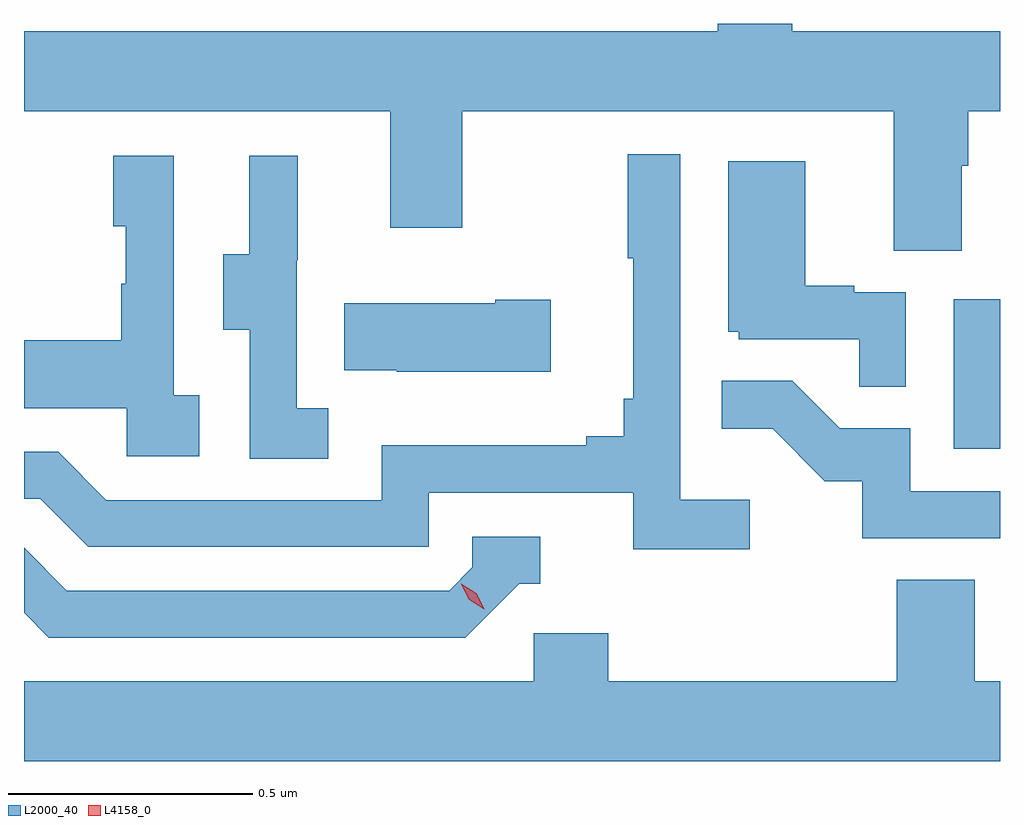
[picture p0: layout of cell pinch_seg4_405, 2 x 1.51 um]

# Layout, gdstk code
import gdstk
lib = gdstk.Library(unit=1e-6, precision=1e-09)
def R(c, l, rs):  # rectangles x0, y0, x1, y1
    for r in rs: c.add(gdstk.rectangle(r[:2], r[2:], *l))
def P(c, l, *ps):  # polygons
    for p in ps: c.add(gdstk.Polygon(p, *l))
L2000_40 = (2000, 40)
L4158_0 = (4158, 0)

pinch_seg4_405 = lib.new_cell('pinch_seg4_405')
R(pinch_seg4_405, L2000_40, [(979.658,784.14,979.753,784.447)])
P(pinch_seg4_405, L2000_40, [(979.675,784.72),(979.688,784.72),(979.688,784.832),(979.753,784.832),(979.753,784.996),(979.327,784.996),(979.327,785.011),(979.175,785.011),(979.175,784.996),(977.753,784.996),(977.753,784.832),(978.503,784.832),(978.503,784.593),(978.651,784.593),(978.651,784.832),(979.535,784.832),(979.535,784.546),(979.675,784.546)],
  [(979.24,784.036),(979.098,784.036),(979.098,784.744),(978.99,784.744),(978.99,784.531),(979.001,784.531),(979.001,784.243),(978.982,784.243),(978.982,784.166),(978.905,784.166),(978.905,784.147),(978.486,784.147),(978.486,784.035),(977.922,784.035),(977.823,784.134),(977.753,784.134),(977.753,784.038),(977.786,784.038),(977.885,783.939),(978.582,783.939),(978.582,784.05),(979.001,784.05),(979.001,783.934),(979.24,783.934)],
  [(978.112,784.25),(978.06,784.25),(978.06,784.741),(977.936,784.741),(977.936,784.596),(977.962,784.596),(977.962,784.478),(977.952,784.478),(977.952,784.363),(977.753,784.363),(977.753,784.223),(977.964,784.223),(977.964,784.125),(978.112,784.125)],
  [(978.376,784.223),(978.312,784.223),(978.312,784.527),(978.314,784.527),(978.314,784.741),(978.215,784.741),(978.215,784.539),(978.161,784.539),(978.161,784.384),(978.216,784.384),(978.216,784.12),(978.376,784.12)],
  [(979.56,784.461),(979.454,784.461),(979.454,784.474),(979.354,784.474),(979.354,784.729),(979.196,784.729),(979.196,784.38),(979.218,784.38),(979.218,784.365),(979.465,784.365),(979.465,784.267),(979.56,784.267)],
  [(978.832,784.446),(978.719,784.446),(978.719,784.438),(978.409,784.438),(978.409,784.301),(978.517,784.301),(978.517,784.298),(978.832,784.298)],
  [(979.753,784.053),(979.569,784.053),(979.569,784.182),(979.425,784.182),(979.327,784.28),(979.183,784.28),(979.183,784.181),(979.287,784.181),(979.394,784.074),(979.471,784.074),(979.471,783.957),(979.753,783.957)],
  [(978.768,783.864),(978.811,783.864),(978.811,783.96),(978.672,783.96),(978.672,783.897),(978.624,783.849),(977.841,783.849),(977.753,783.937),(977.753,783.804),(977.804,783.753),(978.657,783.753)],
  [(979.753,783.664),(979.701,783.664),(979.701,783.872),(979.541,783.872),(979.541,783.664),(978.95,783.664),(978.95,783.762),(978.798,783.762),(978.798,783.664),(977.753,783.664),(977.753,783.5),(979.753,783.5)])
P(pinch_seg4_405, L4158_0, [(978.696,783.811),(978.665,783.831),(978.649,783.863),(978.649,783.864),(978.649,783.864),(978.68,783.844),(978.696,783.812),(978.696,783.811)])

lib.write_gds('pinch_seg4_405.gds')
